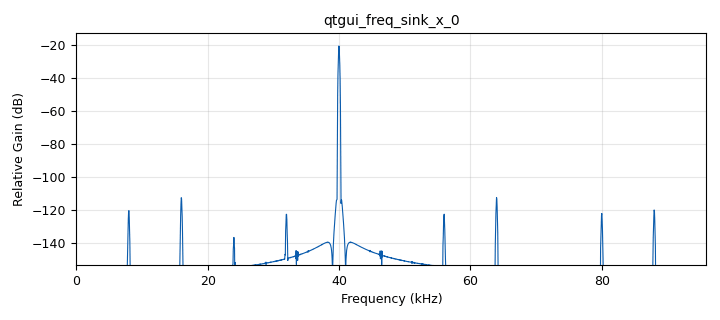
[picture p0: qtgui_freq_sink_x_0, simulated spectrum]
options:
  parameters:
    generate_options: qt_gui
    id: top_block
    output_language: python
  states: {}

blocks:
- name: carrier_freq
  id: variable
  parameters:
    value: '40000'
  states: {}
- name: mod_depth
  id: variable_qtgui_range
  parameters:
    orient: Qt.Horizontal
    start: '0'
    step: '0.1'
    stop: '1'
    value: '0.5'
  states: {}
- name: samp_rate
  id: variable
  parameters:
    value: '192000'
  states: {}
- name: samp_rate_af
  id: variable
  parameters:
    value: '24000'
  states: {}
- name: source_freq
  id: variable_qtgui_range
  parameters:
    orient: Qt.Horizontal
    start: '0'
    step: '10'
    stop: '1000'
    value: '100'
  states: {}
- name: ad2_AD2_AnalogOut_Play_f_0
  id: ad2_AD2_AnalogOut_Play_f
  parameters:
    amplituide: '1'
    channel: '0'
    n_samples: int(samp_rate/2)
    rate: samp_rate
  states: {}
- name: analog_sig_source_x_0
  id: analog_sig_source_x
  parameters:
    amp: '1'
    freq: carrier_freq
    offset: '0'
    phase: '0'
    samp_rate: samp_rate
    type: float
    waveform: analog.GR_SIN_WAVE
  states: {}
- name: analog_sig_source_x_0_0
  id: analog_sig_source_x
  parameters:
    amp: '1'
    freq: source_freq
    maxoutbuf: '2048'
    offset: '0'
    phase: '0'
    samp_rate: samp_rate_af
    type: float
    waveform: analog.GR_SIN_WAVE
  states: {}
- name: audio_source_0
  id: audio_source
  parameters:
    samp_rate: samp_rate_af
  states: {state: disabled}
- name: blocks_add_const_vxx_0
  id: blocks_add_const_vxx
  parameters:
    const: '0.5'
    type: float
  states: {}
- name: blocks_multiply_const_vxx_0
  id: blocks_multiply_const_vxx
  parameters:
    const: mod_depth
    type: float
  states: {}
- name: blocks_multiply_const_vxx_0_0
  id: blocks_multiply_const_vxx
  parameters:
    const: '0.5'
    type: float
  states: {}
- name: blocks_multiply_xx_0
  id: blocks_multiply_xx
  parameters:
    type: float
  states: {}
- name: blocks_throttle_0
  id: blocks_throttle
  parameters:
    maxoutbuf: '4096'
    samples_per_second: samp_rate
    type: float
  states: {}
- name: qtgui_freq_sink_x_0
  id: qtgui_freq_sink_x
  parameters:
    autoscale: 'True'
    bw: samp_rate
    fc: '0'
    fftsize: '4096'
    freqhalf: 'False'
    grid: 'True'
    type: float
    wintype: firdes.WIN_BLACKMAN_hARRIS
  states: {}
- name: rational_resampler_xxx_0
  id: rational_resampler_xxx
  parameters:
    decim: '1'
    interp: int(samp_rate/samp_rate_af)
    taps: ''
    type: fff
  states: {}

connections:
- [analog_sig_source_x_0, '0', blocks_multiply_xx_0, '0']
- [analog_sig_source_x_0_0, '0', blocks_multiply_const_vxx_0, '0']
- [audio_source_0, '0', blocks_multiply_const_vxx_0, '0']
- [blocks_add_const_vxx_0, '0', rational_resampler_xxx_0, '0']
- [blocks_multiply_const_vxx_0, '0', blocks_multiply_const_vxx_0_0, '0']
- [blocks_multiply_const_vxx_0_0, '0', blocks_add_const_vxx_0, '0']
- [blocks_multiply_xx_0, '0', blocks_throttle_0, '0']
- [blocks_throttle_0, '0', ad2_AD2_AnalogOut_Play_f_0, '0']
- [blocks_throttle_0, '0', qtgui_freq_sink_x_0, '0']
- [rational_resampler_xxx_0, '0', blocks_multiply_xx_0, '1']

metadata:
  file_format: 1
